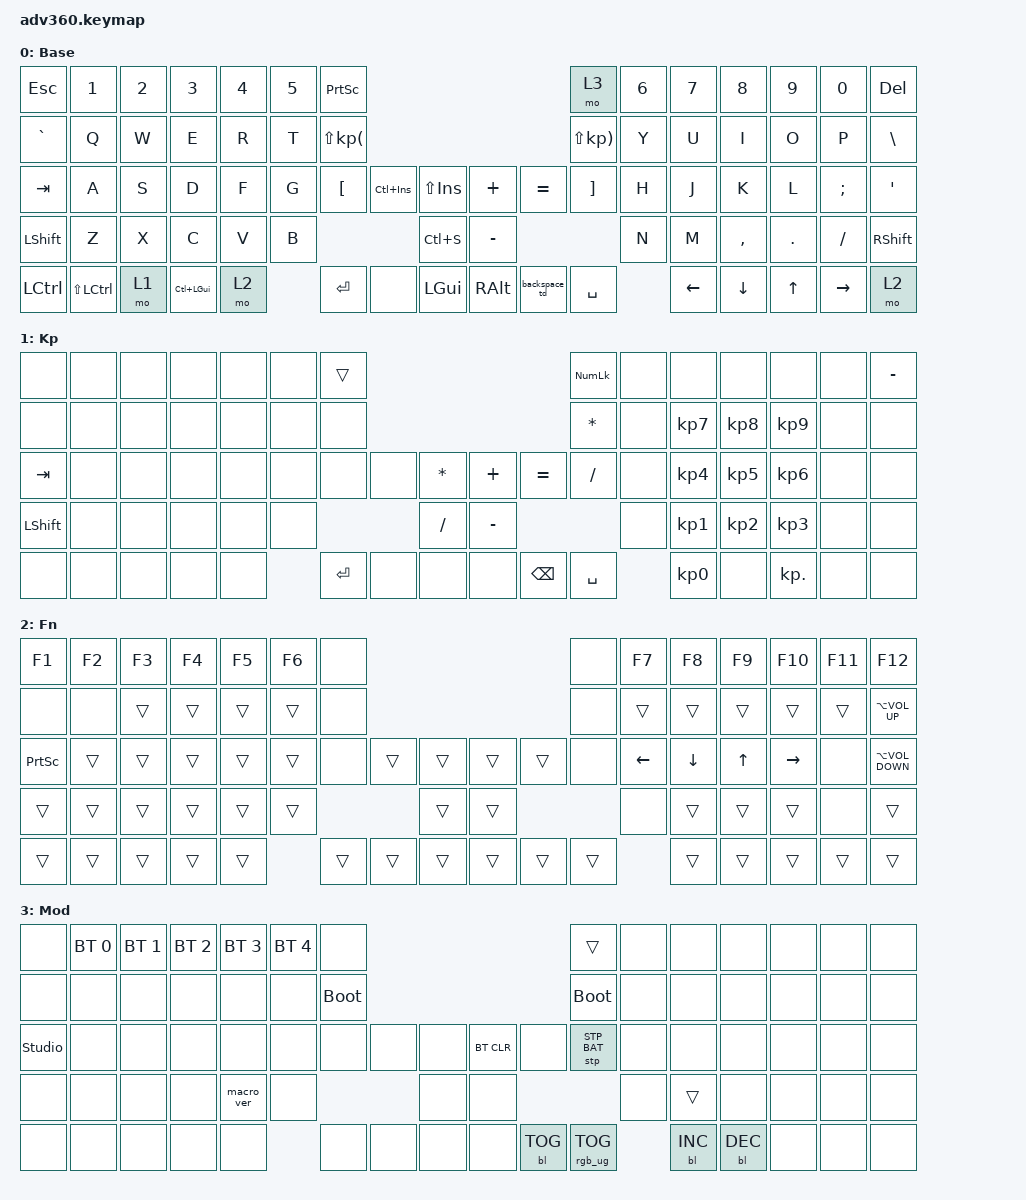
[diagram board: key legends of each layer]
#include <dt-bindings/zmk/stp.h>
#include <behaviors.dtsi>
#include <dt-bindings/zmk/backlight.h>
#include <dt-bindings/zmk/bt.h>
#include <dt-bindings/zmk/keys.h>
#include <dt-bindings/zmk/rgb.h>

/ {
    behaviors {
        #include "macros.dtsi"
      #include "version.dtsi"

        backspace_td: backspace_td {
            compatible = "zmk,behavior-tap-dance";
            label = "BACKSPACE_TD";
            #binding-cells = <0>;
            bindings = <&kp BACKSPACE>, <&kp RC(BACKSPACE)>;
        };
    };

    combos { compatible = "zmk,combos"; };

    keymap {
        compatible = "zmk,keymap";

        default_layer {
            display-name = "Base";
            bindings = <
&kp ESC         &kp N1                &kp N2  &kp N3        &kp N4  &kp N5  &kp PRINTSCREEN                                                                                &mo 3                         &kp N6  &kp N7          &kp N8          &kp N9        &kp N0           &kp DELETE
&kp GRAVE       &kp Q                 &kp W   &kp E         &kp R   &kp T   &kp LS(KP_LEFT_PARENTHESIS)                                                                    &kp LS(KP_RIGHT_PARENTHESIS)  &kp Y   &kp U           &kp I           &kp O         &kp P            &kp BSLH
&kp TAB         &kp A                 &kp S   &kp D         &kp F   &kp G   &kp LEFT_BRACKET             &kp LC(INSERT)  &kp LS(INSERT)      &kp PLUS       &kp EQUAL      &kp RIGHT_BRACKET             &kp H   &kp J           &kp K           &kp L         &kp SEMI         &kp SINGLE_QUOTE
&kp LEFT_SHIFT  &kp Z                 &kp X   &kp C         &kp V   &kp B                                                &kp LC(S)           &kp MINUS                                                   &kp N   &kp M           &kp COMMA       &kp DOT       &kp FSLH         &kp RSHFT
&kp LCTRL       &kp LS(LEFT_CONTROL)  &mo 1   &kp LC(LGUI)  &mo 2           &kp RET                      &none           &kp LEFT_GUI        &kp RIGHT_ALT  &backspace_td  &kp SPACE                             &kp LEFT_ARROW  &kp DOWN_ARROW  &kp UP_ARROW  &kp RIGHT_ARROW  &mo 2
            >;
        };

        keypad {
            display-name = "Kp";
            bindings = <
&none           &none  &none  &none  &none  &none  &trans                                                        &kp KP_NUMLOCK  &none  &none            &none      &none       &none  &kp MINUS
&none           &none  &none  &none  &none  &none  &none                                                         &kp ASTERISK    &none  &kp KP_N7        &kp KP_N8  &kp KP_N9   &none  &none
&kp TAB         &none  &none  &none  &none  &none  &none      &none  &kp ASTERISK      &kp PLUS   &kp EQUAL      &kp SLASH       &none  &kp KP_N4        &kp KP_N5  &kp KP_N6   &none  &none
&kp LEFT_SHIFT  &none  &none  &none  &none  &none                    &kp SLASH         &kp MINUS                                 &none  &kp KP_N1        &kp KP_N2  &kp KP_N3   &none  &none
&none           &none  &none  &none  &none         &kp ENTER  &none  &none             &none      &kp BACKSPACE  &kp SPACE              &kp KP_NUMBER_0  &none      &kp KP_DOT  &none  &none
            >;
        };

        fn {
            display-name = "Fn";
            bindings = <
&kp F1           &kp F2  &kp F3  &kp F4  &kp F5  &kp F6  &none                                       &none   &kp F7          &kp F8          &kp F9        &kp F10          &kp F11  &kp F12
&none            &none   &trans  &trans  &trans  &trans  &none                                       &none   &trans          &trans          &trans        &trans           &trans   &kp LA(C_VOLUME_UP)
&kp PRINTSCREEN  &trans  &trans  &trans  &trans  &trans  &none   &trans  &trans      &trans  &trans  &none   &kp LEFT_ARROW  &kp DOWN_ARROW  &kp UP_ARROW  &kp RIGHT_ARROW  &none    &kp LA(C_VOLUME_DOWN)
&trans           &trans  &trans  &trans  &trans  &trans                  &trans      &trans                  &none           &trans          &trans        &trans           &none    &trans
&trans           &trans  &trans  &trans  &trans          &trans  &trans  &trans      &trans  &trans  &trans                  &trans          &trans        &trans           &trans   &trans
            >;
        };

        mod {
            display-name = "Mod";
            bindings = <
&none           &bt BT_SEL 0  &bt BT_SEL 1  &bt BT_SEL 2  &bt BT_SEL 3  &bt BT_SEL 4  &none                                                  &trans           &none  &none       &none       &none  &none  &none
&none           &none         &none         &none         &none         &none         &bootloader                                            &bootloader      &none  &none       &none       &none  &none  &none
&studio_unlock  &none         &none         &none         &none         &none         &none        &none  &none      &bt BT_CLR  &none       &stp STP_BAT     &none  &none       &none       &none  &none  &none
&none           &none         &none         &none         &macro_ver    &none                             &none      &none                                    &none  &trans      &none       &none  &none  &none
&none           &none         &none         &none         &none                       &none        &none  &none      &none       &bl BL_TOG  &rgb_ug RGB_TOG         &bl BL_INC  &bl BL_DEC  &none  &none  &none
            >;
        };
    };
};
